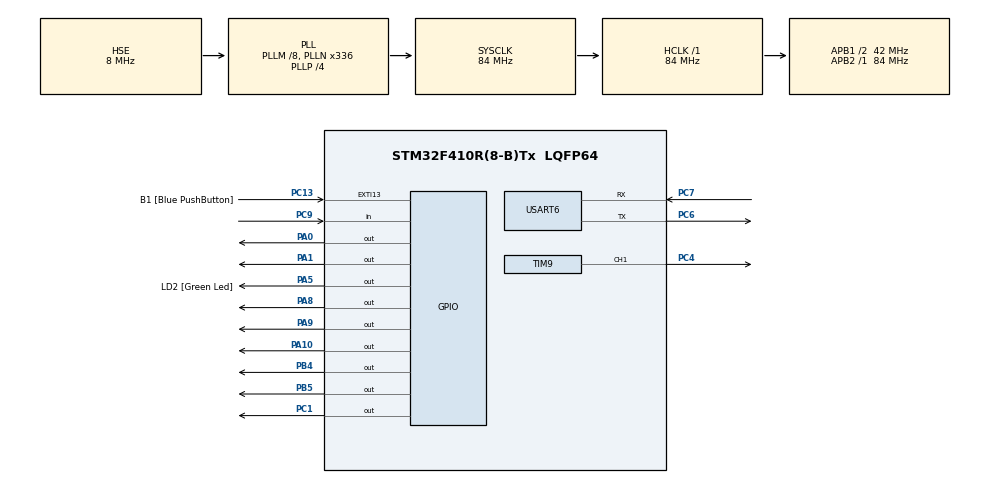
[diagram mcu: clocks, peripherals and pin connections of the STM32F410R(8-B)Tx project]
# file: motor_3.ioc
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Mcu.Family=STM32F4
Mcu.Name=STM32F410R(8-B)Tx
Mcu.Package=LQFP64
NVIC.PriorityGroup=NVIC_PRIORITYGROUP_0
NVIC.USART6_IRQn=true\:0\:0\:false\:false\:true\:true\:true
PA0-WKUP.Signal=GPIO_Output
PA1.Signal=GPIO_Output
PA10.Signal=GPIO_Output
PA13.GPIO_Label=TMS
PA13.Mode=Trace_Asynchronous_SW
PA13.Signal=SYS_JTMS-SWDIO
PA14.GPIO_Label=TCK
PA14.Mode=Trace_Asynchronous_SW
PA14.Signal=SYS_JTCK-SWCLK
PA2.GPIO_Label=USART_TX
PA2.GPIO_Mode=GPIO_MODE_AF_PP
PA2.GPIO_PuPd=GPIO_NOPULL
PA2.GPIO_Speed=GPIO_SPEED_FREQ_VERY_HIGH
PA2.Signal=USART2_TX
PA3.GPIO_Label=USART_RX
PA3.GPIO_Mode=GPIO_MODE_AF_PP
PA3.GPIO_PuPd=GPIO_NOPULL
PA3.GPIO_Speed=GPIO_SPEED_FREQ_VERY_HIGH
PA3.Signal=USART2_RX
PA5.GPIO_Label=LD2 [Green Led]
PA5.GPIO_ModeDefaultOutputPP=GPIO_MODE_OUTPUT_PP
PA5.GPIO_PuPd=GPIO_NOPULL
PA5.GPIO_Speed=GPIO_SPEED_FREQ_LOW
PA5.Signal=GPIO_Output
PA8.Signal=GPIO_Output
PA9.Signal=GPIO_Output
PB3.GPIO_Label=SWO
PB3.Mode=Trace_Asynchronous_SW
PB3.Signal=SYS_JTDO-SWO
PB4.Signal=GPIO_Output
PB5.Signal=GPIO_Output
PC1.Signal=GPIO_Output
PC13-ANTI_TAMP.GPIO_Label=B1 [Blue PushButton]
PC13-ANTI_TAMP.GPIO_ModeDefaultEXTI=GPIO_MODE_IT_FALLING
PC13-ANTI_TAMP.GPIO_PuPd=GPIO_NOPULL
PC13-ANTI_TAMP.Signal=GPXTI13
PC14-OSC32_IN.Signal=RCC_OSC32_IN
PC15-OSC32_OUT.Signal=RCC_OSC32_OUT
PC4.Signal=S_TIM9_CH1
PC6.Mode=Asynchronous
PC6.Signal=USART6_TX
PC7.Mode=Asynchronous
PC7.Signal=USART6_RX
PC9.Signal=GPIO_Input
PH0\ -\ OSC_IN.Mode=HSE-External-Clock-Source
PH0\ -\ OSC_IN.Signal=RCC_OSC_IN
PH1\ -\ OSC_OUT.Mode=HSE-External-Clock-Source
PH1\ -\ OSC_OUT.Signal=RCC_OSC_OUT
ProjectManager.HeapSize=0x200
ProjectManager.StackSize=0x400
ProjectManager.TargetToolchain=SW4STM32
RCC.48MHZClocksFreq_Value=84000000
RCC.AHBFreq_Value=84000000
RCC.APB1CLKDivider=RCC_HCLK_DIV2
RCC.APB1Freq_Value=42000000
RCC.APB1TimFreq_Value=84000000
RCC.APB2Freq_Value=84000000
RCC.APB2TimFreq_Value=84000000
RCC.CortexFreq_Value=84000000
RCC.FLatency-AdvancedSettings=FLASH_LATENCY_2
RCC.HCLKFreq_Value=84000000
RCC.HSE_VALUE=8000000
RCC.HSI_VALUE=16000000
RCC.LSE_VALUE=32768
RCC.PLLM=8
RCC.PLLN=336
RCC.PLLP=RCC_PLLP_DIV4
RCC.PLLSourceVirtual=RCC_PLLSOURCE_HSE
RCC.SYSCLKFreq_VALUE=84000000
RCC.SYSCLKSource=RCC_SYSCLKSOURCE_PLLCLK
RCC.VCOOutputFreq_Value=336000000
SH.S_TIM9_CH1.0=TIM9_CH1,PWM Generation1 CH1
TIM9.Channel-PWM\ Generation1\ CH1=TIM_CHANNEL_1
TIM9.Period=1999
TIM9.Prescaler=840
TIM9.Pulse-PWM\ Generation1\ CH1=999
USART6.VirtualMode=VM_ASYNC
VP_TIM9_VS_ClockSourceINT.Mode=Internal
board=NUCLEO-F410RB

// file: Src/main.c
/* USER CODE BEGIN Header */
/**
  ******************************************************************************
  * @file           : main.c
  * @brief          : Main program body
  ******************************************************************************
  * @attention
  *
  * <h2><center>&copy; Copyright (c) 2019 STMicroelectronics.
  * All rights reserved.</center></h2>
  *
  * This software component is licensed by ST under BSD 3-Clause license,
  * the "License"; You may not use this file except in compliance with the
  * License. You may obtain a copy of the License at:
  *                        opensource.org/licenses/BSD-3-Clause
  *
  ******************************************************************************
  */
/* USER CODE END Header */

#include "main.h"
#include "stdio.h"

TIM_HandleTypeDef htim9;

UART_HandleTypeDef huart6;

/* USER CODE BEGIN PV */
int UARTARREY=0;
int i[] = {0,0,0};
int NextAddSpaceCount =0;
int beforeCount =0;
int EnterCount=0;
int j=0;
int EnterSignal=0;
int SwitchCount=0;
uint8_t rx3_data;
/* USER CODE END PV */

void SystemClock_Config(void);
static void MX_GPIO_Init(void);
static void MX_TIM9_Init(void);
static void MX_USART6_UART_Init(void);
/* USER CODE BEGIN PFP */
int doc_servo(int *i);
void step_plus_1pulse();
void step_minus_1pulse();
void step_Space();
void step_Next();
void step_Enter();
void step_before();
void Print();
void before_Check();
/* USER CODE END PFP */

int main(void)
{

  /* MCU Configuration--------------------------------------------------------*/

  /* Reset of all peripherals, Initializes the Flash interface and the Systick. */
  HAL_Init();

  /* Configure the system clock */
  SystemClock_Config();

  /* Initialize all configured peripherals */
  MX_GPIO_Init();
  MX_TIM9_Init();
  MX_USART6_UART_Init();
  /* USER CODE BEGIN 2 */
  HAL_TIM_PWM_Start(&htim9, TIM_CHANNEL_1);
  HAL_UART_Receive_IT(&huart6, &rx3_data, 1);
  /* USER CODE END 2 */

  /* Infinite loop */
  while (1)
  {

    /* USER CODE BEGIN 3 */

	  step_Enter();

		  switch(rx3_data)
		  				  {
		  				  case '1':
		  					  i[0]=0;
		  					  i[1]=0;
		  					  i[2]=0;
		  					  break;

		  				  case '2':
		  					  i[0]=0;
		  					  i[1]=0;
		  					  i[2]=1;
		  					  break;

		  				  case '3':
		  					  i[0]=0;
		  					  i[1]=1;
		  					  i[2]=0;
		  					  break;

		  				  case '4':
		  					  i[0]=0;
		  					  i[1]=1;
		  					  i[2]=1;
		  					  break;

		  				  case '5':
		  					  i[0]=1;
		  					  i[1]=0;
		  					  i[2]=0;
		  					  break;

		  				  case '6':
		  					  i[0]=1;
		  					  i[1]=0;
		  					  i[2]=1;
		  					  break;

		  				  case '7':
		  					  i[0]=1;
		  					  i[1]=1;
		  					  i[2]=0;
		  					  break;

		  				  case '8':
		  					  i[0]=1;
		  					  i[1]=1;
		  					  i[2]=1;
		  					  break;

		  				  case '9':
		  					 EnterSignal=1;
		  					 break;

		  				  default:
		  					  HAL_Delay(10);
		  				  }
		  printf("%d:%d:%d\r\n",i[0],i[1],i[2]);
		  NextAddSpaceCount++;
		  				if(NextAddSpaceCount==37)	//가로로 꽉 찼을 경우 다음줄로 넘어가는 함수
		  					 {
		  						 for(int a=beforeCount; a>0;a--)
		  						 {
		  						 step_before();
		  						 HAL_Delay(10);
		  						 }
		  						 HAL_Delay(1000);
		  						 step_Enter();
		  						 HAL_Delay(1000);
		  						 EnterCount++;
		  						 NextAddSpaceCount=1;
		  					 }

		  				else if(EnterSignal ==1)	//가로로 글을 꽉 안채우고 다음줄로 넘어갈 경우의 신호
							 {
								 for(int a=beforeCount; a>0;a--)
								 {
								 step_before();
								 HAL_Delay(10);
								 }
								 HAL_Delay(1000);
								 step_Enter();
								 HAL_Delay(1000);
								 HAL_Delay(200);
								 EnterCount++;
								 NextAddSpaceCount=1;
								 EnterSignal=0;
							 }
		  				int temp = doc_servo(i);
		  				__HAL_TIM_SET_COMPARE(&htim9, TIM_CHANNEL_1, temp);
		  				 HAL_Delay(1000);

		  				Print();
		  				if(NextAddSpaceCount%2==1)		//한 자음에서 3:3중 다음 3개의 점찍을때의 띄어쓰기
							 {
								 step_Next();
								 HAL_Delay(1000);
								 HAL_GPIO_TogglePin(GPIOA,GPIO_PIN_5);
								 beforeCount++;
							 }
							 else if(NextAddSpaceCount%2==0)	//다음 자음으로 넘어가기
								{
								 step_Space();
								 HAL_Delay(1000);
								 HAL_GPIO_TogglePin(GPIOA,GPIO_PIN_5);
								 beforeCount=beforeCount+2;
								}

							 else if(EnterCount==19)	// 한장 다하면 모터들 종료 추후 수정 (ex: 다음장까지 얼마나 돌아야하나 등으로)
							 {
								 step_Enter();
								 HAL_Delay(200);
								 step_Enter();
								 HAL_Delay(200);
								 step_Enter();
								 HAL_Delay(200);
								 HAL_GPIO_WritePin(GPIOA, GPIO_PIN_9,GPIO_PIN_SET);
								 HAL_GPIO_WritePin(GPIOC,GPIO_PIN_1,GPIO_PIN_RESET);
							 }

		  					}

  /* USER CODE END 3 */
}

void SystemClock_Config(void)
{
  RCC_OscInitTypeDef RCC_OscInitStruct = {0};
  RCC_ClkInitTypeDef RCC_ClkInitStruct = {0};

  /** Configure the main internal regulator output voltage
  */
  __HAL_RCC_PWR_CLK_ENABLE();
  __HAL_PWR_VOLTAGESCALING_CONFIG(PWR_REGULATOR_VOLTAGE_SCALE1);
  /** Initializes the CPU, AHB and APB busses clocks
  */
  RCC_OscInitStruct.OscillatorType = RCC_OSCILLATORTYPE_HSE;
  RCC_OscInitStruct.HSEState = RCC_HSE_BYPASS;
  RCC_OscInitStruct.PLL.PLLState = RCC_PLL_ON;
  RCC_OscInitStruct.PLL.PLLSource = RCC_PLLSOURCE_HSE;
  RCC_OscInitStruct.PLL.PLLM = 8;
  RCC_OscInitStruct.PLL.PLLN = 336;
  RCC_OscInitStruct.PLL.PLLP = RCC_PLLP_DIV4;
  RCC_OscInitStruct.PLL.PLLQ = 4;
  RCC_OscInitStruct.PLL.PLLR = 2;
  if (HAL_RCC_OscConfig(&RCC_OscInitStruct) != HAL_OK)
  {
    Error_Handler();
  }
  /** Initializes the CPU, AHB and APB busses clocks
  */
  RCC_ClkInitStruct.ClockType = RCC_CLOCKTYPE_HCLK|RCC_CLOCKTYPE_SYSCLK
                              |RCC_CLOCKTYPE_PCLK1|RCC_CLOCKTYPE_PCLK2;
  RCC_ClkInitStruct.SYSCLKSource = RCC_SYSCLKSOURCE_PLLCLK;
  RCC_ClkInitStruct.AHBCLKDivider = RCC_SYSCLK_DIV1;
  RCC_ClkInitStruct.APB1CLKDivider = RCC_HCLK_DIV2;
  RCC_ClkInitStruct.APB2CLKDivider = RCC_HCLK_DIV1;

  if (HAL_RCC_ClockConfig(&RCC_ClkInitStruct, FLASH_LATENCY_2) != HAL_OK)
  {
    Error_Handler();
  }
}

static void MX_TIM9_Init(void)
{

  TIM_ClockConfigTypeDef sClockSourceConfig = {0};
  TIM_OC_InitTypeDef sConfigOC = {0};

  htim9.Instance = TIM9;
  htim9.Init.Prescaler = 840;
  htim9.Init.CounterMode = TIM_COUNTERMODE_UP;
  htim9.Init.Period = 1999;
  htim9.Init.ClockDivision = TIM_CLOCKDIVISION_DIV1;
  htim9.Init.AutoReloadPreload = TIM_AUTORELOAD_PRELOAD_DISABLE;
  if (HAL_TIM_Base_Init(&htim9) != HAL_OK)
  {
    Error_Handler();
  }
  sClockSourceConfig.ClockSource = TIM_CLOCKSOURCE_INTERNAL;
  if (HAL_TIM_ConfigClockSource(&htim9, &sClockSourceConfig) != HAL_OK)
  {
    Error_Handler();
  }
  if (HAL_TIM_PWM_Init(&htim9) != HAL_OK)
  {
    Error_Handler();
  }
  sConfigOC.OCMode = TIM_OCMODE_PWM1;
  sConfigOC.Pulse = 999;
  sConfigOC.OCPolarity = TIM_OCPOLARITY_HIGH;
  sConfigOC.OCFastMode = TIM_OCFAST_DISABLE;
  if (HAL_TIM_PWM_ConfigChannel(&htim9, &sConfigOC, TIM_CHANNEL_1) != HAL_OK)
  {
    Error_Handler();
  }
  HAL_TIM_MspPostInit(&htim9);

}

static void MX_USART6_UART_Init(void)
{

  huart6.Instance = USART6;
  huart6.Init.BaudRate = 115200;
  huart6.Init.WordLength = UART_WORDLENGTH_8B;
  huart6.Init.StopBits = UART_STOPBITS_1;
  huart6.Init.Parity = UART_PARITY_NONE;
  huart6.Init.Mode = UART_MODE_TX_RX;
  huart6.Init.HwFlowCtl = UART_HWCONTROL_NONE;
  huart6.Init.OverSampling = UART_OVERSAMPLING_16;
  if (HAL_UART_Init(&huart6) != HAL_OK)
  {
    Error_Handler();
  }

}

static void MX_GPIO_Init(void)
{
  GPIO_InitTypeDef GPIO_InitStruct = {0};

  /* GPIO Ports Clock Enable */
  __HAL_RCC_GPIOC_CLK_ENABLE();
  __HAL_RCC_GPIOH_CLK_ENABLE();
  __HAL_RCC_GPIOA_CLK_ENABLE();
  __HAL_RCC_GPIOB_CLK_ENABLE();

  /*Configure GPIO pin Output Level */
  HAL_GPIO_WritePin(GPIOC, GPIO_PIN_1, GPIO_PIN_RESET);

  /*Configure GPIO pin Output Level */
  HAL_GPIO_WritePin(GPIOA, GPIO_PIN_0|GPIO_PIN_1|LD2_Pin|GPIO_PIN_8
                          |GPIO_PIN_9|GPIO_PIN_10, GPIO_PIN_RESET);

  /*Configure GPIO pin Output Level */
  HAL_GPIO_WritePin(GPIOB, GPIO_PIN_4|GPIO_PIN_5, GPIO_PIN_RESET);

  /*Configure GPIO pin : B1_Pin */
  GPIO_InitStruct.Pin = B1_Pin;
  GPIO_InitStruct.Mode = GPIO_MODE_IT_FALLING;
  GPIO_InitStruct.Pull = GPIO_NOPULL;
  HAL_GPIO_Init(B1_GPIO_Port, &GPIO_InitStruct);

  /*Configure GPIO pin : PC1 */
  GPIO_InitStruct.Pin = GPIO_PIN_1;
  GPIO_InitStruct.Mode = GPIO_MODE_OUTPUT_PP;
  GPIO_InitStruct.Pull = GPIO_NOPULL;
  GPIO_InitStruct.Speed = GPIO_SPEED_FREQ_LOW;
  HAL_GPIO_Init(GPIOC, &GPIO_InitStruct);

  /*Configure GPIO pins : PA0 PA1 LD2_Pin PA8
                           PA9 PA10 */
  GPIO_InitStruct.Pin = GPIO_PIN_0|GPIO_PIN_1|LD2_Pin|GPIO_PIN_8
                          |GPIO_PIN_9|GPIO_PIN_10;
  GPIO_InitStruct.Mode = GPIO_MODE_OUTPUT_PP;
  GPIO_InitStruct.Pull = GPIO_NOPULL;
  GPIO_InitStruct.Speed = GPIO_SPEED_FREQ_LOW;
  HAL_GPIO_Init(GPIOA, &GPIO_InitStruct);

  /*Configure GPIO pins : USART_TX_Pin USART_RX_Pin */
  GPIO_InitStruct.Pin = USART_TX_Pin|USART_RX_Pin;
  GPIO_InitStruct.Mode = GPIO_MODE_AF_PP;
  GPIO_InitStruct.Pull = GPIO_NOPULL;
  GPIO_InitStruct.Speed = GPIO_SPEED_FREQ_VERY_HIGH;
  GPIO_InitStruct.Alternate = GPIO_AF7_USART2;
  HAL_GPIO_Init(GPIOA, &GPIO_InitStruct);

  /*Configure GPIO pin : PC9 */
  GPIO_InitStruct.Pin = GPIO_PIN_9;
  GPIO_InitStruct.Mode = GPIO_MODE_INPUT;
  GPIO_InitStruct.Pull = GPIO_NOPULL;
  HAL_GPIO_Init(GPIOC, &GPIO_InitStruct);

  /*Configure GPIO pins : PB4 PB5 */
  GPIO_InitStruct.Pin = GPIO_PIN_4|GPIO_PIN_5;
  GPIO_InitStruct.Mode = GPIO_MODE_OUTPUT_PP;
  GPIO_InitStruct.Pull = GPIO_NOPULL;
  GPIO_InitStruct.Speed = GPIO_SPEED_FREQ_LOW;
  HAL_GPIO_Init(GPIOB, &GPIO_InitStruct);

}

/* USER CODE BEGIN 4 */

int _write(int file,char *ptr, int len)
{
	int dataIdx;
	for(dataIdx =0; dataIdx < len; dataIdx++)
	{
		ITM_SendChar(*ptr++);
	}
	return len;
}

void HAL_UART_RxCpltCallback(UART_HandleTypeDef *huart)
{
	if(huart->Instance ==USART6)
	{
		HAL_UART_Receive_IT(&huart6, &rx3_data,1);
		HAL_UART_Transmit(&huart6, &rx3_data,1,10);

	}
}

int doc_servo(int *i)
{
	 if(i[0]==0)
	  {
		  if(i[1]==0)
		  {
			  if(i[2]==0)	//000
			  {
				  j=55;
			  }
			  else if(i[2]==1)	//001
			  {
				  j=158;
			  }
		  }
		  else if(i[1]==1)
		  {
			  if(i[2]==0)	//010
			  {
				  j=108;
			  }
			  else if(i[2]==1)	//011
			  {
				  j=208;
			  }
		  }
	  }
	  else if(i[0]==1)
	  {
		  if(i[1]==0)
		  {
			  if(i[2]==0)	//100
			  {
				  j=79;
			  }
			  else if(i[2]==1)	//101
			  {
				  j=180;
			  }
		  }
		  else if(i[1]==1)
		  {
			  if(i[2]==0)	//110
			  {
				  j=128;
			  }
			  else if(i[2]==1)	//111
			  {
				  j=235;
			  }
		  }
	  }
 return j;
}

void Print()
{
	  HAL_GPIO_WritePin(GPIOC,GPIO_PIN_1,GPIO_PIN_SET);
	  HAL_GPIO_WritePin(GPIOA,GPIO_PIN_0,GPIO_PIN_RESET);
	  HAL_GPIO_WritePin(GPIOA,GPIO_PIN_1,GPIO_PIN_SET);
	  HAL_Delay(3500);
	  HAL_GPIO_WritePin(GPIOA,GPIO_PIN_0,GPIO_PIN_SET);
	  HAL_GPIO_WritePin(GPIOA,GPIO_PIN_1,GPIO_PIN_RESET);
	  HAL_Delay(4100);
	  printf("dc모터로 쾅\r\n");

}

void step_plus_1pulse()
{
	HAL_GPIO_WritePin(GPIOB, GPIO_PIN_4,GPIO_PIN_SET);
	HAL_GPIO_WritePin(GPIOA, GPIO_PIN_10, GPIO_PIN_SET);
	HAL_Delay(1);
	HAL_GPIO_WritePin(GPIOA, GPIO_PIN_10, GPIO_PIN_RESET);
	HAL_Delay(1);
}

void step_minus_1pulse()
{
	HAL_GPIO_WritePin(GPIOB, GPIO_PIN_4,GPIO_PIN_RESET);
	HAL_GPIO_WritePin(GPIOA, GPIO_PIN_10, GPIO_PIN_SET);
	HAL_Delay(1);
	HAL_GPIO_WritePin(GPIOA, GPIO_PIN_10, GPIO_PIN_RESET);
	HAL_Delay(1);
}

void step_Next()
{
	HAL_GPIO_WritePin(GPIOA, GPIO_PIN_9,GPIO_PIN_RESET);
	for(int a=0; a<350; a++)
		  {
			  step_plus_1pulse();
			  if(a==349)
			  {
				  HAL_GPIO_WritePin(GPIOA, GPIO_PIN_9,GPIO_PIN_SET);
			  }
		  }
	printf("다음껄로 넘어가\r\n");
}

void step_before()
{
	HAL_GPIO_WritePin(GPIOA, GPIO_PIN_9,GPIO_PIN_RESET);

			  step_minus_1pulse();

			  if(HAL_GPIO_ReadPin(GPIOC,GPIO_PIN_9)==GPIO_PIN_RESET)	//눌렸을때
			  {
				  printf("첫번째 스위치 눌림\r\n");
				  step_Next();
				  before_Check();

			  }

	printf("전에껄로 넘어가\r\n");
}

void before_Check()
{
	HAL_GPIO_WritePin(GPIOA, GPIO_PIN_9,GPIO_PIN_RESET);

	  for(int g=0; g<10000; g++)
	  {
			step_minus_1pulse();
			  if(HAL_GPIO_ReadPin(GPIOC,GPIO_PIN_9)==GPIO_PIN_RESET)
			  {
				  printf("두번째 스위치 눌림\r\n");
				  HAL_GPIO_WritePin(GPIOA, GPIO_PIN_9,GPIO_PIN_SET);
			  }
	  }

}

void step_Space()
{
	HAL_GPIO_WritePin(GPIOA, GPIO_PIN_9,GPIO_PIN_RESET);
	for(int a=0; a<700; a++)
		  {
			  step_plus_1pulse();
			  if(a==699)
			  {
				  HAL_GPIO_WritePin(GPIOA, GPIO_PIN_9,GPIO_PIN_SET);
			  }
		  }
	printf("스페이스다\r\n");
}

void step_Enter()
{
	HAL_GPIO_WritePin(GPIOA, GPIO_PIN_9,GPIO_PIN_RESET);
	for(int a=0; a<130; a++)
			  {
				HAL_GPIO_WritePin(GPIOA, GPIO_PIN_8,GPIO_PIN_SET);
				HAL_GPIO_WritePin(GPIOB, GPIO_PIN_5, GPIO_PIN_SET);
				HAL_Delay(1);
				HAL_GPIO_WritePin(GPIOB, GPIO_PIN_5, GPIO_PIN_RESET);
				HAL_Delay(1);

				  if(a==129)
				  {
					  HAL_GPIO_WritePin(GPIOA, GPIO_PIN_9,GPIO_PIN_SET);
				  }
			  }
	printf("엔터다\r\n");

}

/* USER CODE END 4 */

void Error_Handler(void)
{
}

/************************ (C) COPYRIGHT STMicroelectronics *****END OF FILE****/
